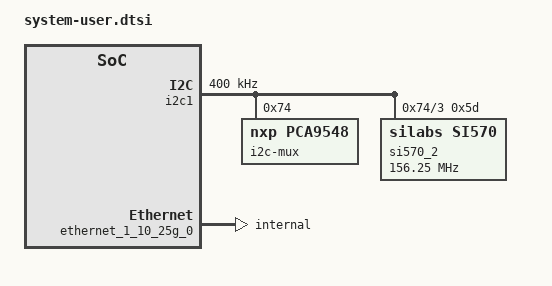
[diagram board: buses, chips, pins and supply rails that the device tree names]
/include/ "system-conf.dtsi"
/ {
};


&i2c1 {
    status = "okay";
    clock-frequency = <400000>;
    i2c-mux@74 { /* u49 */
        compatible = "nxp,pca9548";
        #address-cells = <1>;
        #size-cells = <0>;
        reg = <0x74>;
        /delete-node/ i2c@3;
        i2c@3 { /* i2c mw 74 0 8 */
            #address-cells = <1>;
            #size-cells = <0>;
            reg = <3>;
            si570_2: clock-generator@5d {
                #clock-cells = <0>;
                compatible = "silabs,si570";
                reg = <0x5d>;
                temperature-stability = <50>;
                factory-fout = <156250000>;
                clock-frequency = <156250000>;
            };
        };
    };
};



&axi_dma_0 {
	compatible = "xlnx,eth-dma";
	xlnx,include-dre;
};

&ethernet_1_10_25g_0 {
	axistream-connected = <&axi_dma_0>;
	axistream-control-connected = <&axi_dma_0>;
	interrupt-names = "mm2s_introut", "s2mm_introut";
	interrupt-parent = <&gic>;
	interrupts = <0 90 4 0 89 4>;
	managed = "in-band-status";
	phy-mode = "internal";
	xlnx,channel-ids = "1";
	xlnx,include-dre;
    xlnx,num-queues = [00 01];
    xlnx,addrwidth = <0x20>;
	xlnx,runtime-switch = "1G / 10G";
	xlnx,line-rate = <0x0a>;
	clock_stability-gpios = <&axi_gpio_0 0x00 0x00>;
};
